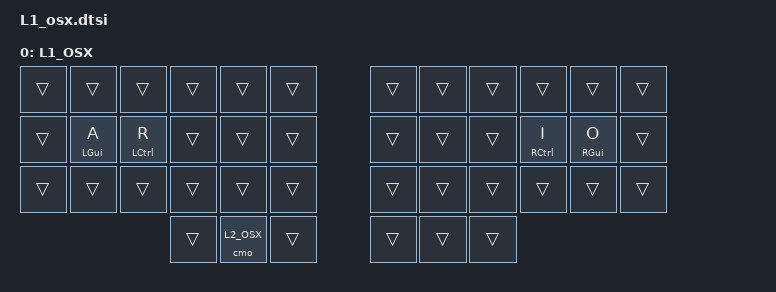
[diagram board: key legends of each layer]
/**
 * Alpha Layer - Colemak-DH
 */

/ {
  keymap {
    compatible = "zmk,keymap";

    layer_1 {
      label = "L1_OSX";
      bindings = <
// ╭───────────────┬───────────────┬───────────────┬───────────────┬───────────────┬───────────────╮   ╭───────────────┬───────────────┬───────────────┬───────────────┬───────────────┬───────────────╮
//  0               1               2               3               4               5                   6               7               8               9               10              11
    &trans          &trans          &trans          &trans          &trans          &trans              &trans          &trans          &trans          &trans          &trans          &trans
// ├───────────────├───────────────┼───────────────┼───────────────┼───────────────┼───────────────┤   ├───────────────├───────────────┼───────────────┼───────────────┼───────────────┼───────────────┤
//  12              13              14              15              16              17                  18              19              20              21              22              23
    &trans          &mt LGUI A      &mt LCTRL R     &trans          &trans          &trans              &trans          &trans          &trans          &mt RCTRL I     &mt RGUI O      &trans
// ├───────────────├───────────────┼───────────────┼───────────────┼───────────────┼───────────────┤   ├───────────────├───────────────┼───────────────┼───────────────┼───────────────┼───────────────┤
//  24              25              26              27              28              29                  30              31              32              33              34              35
    &trans          &trans          &trans          &trans          &trans          &trans              &trans          &trans          &trans          &trans          &trans          &trans
// ╰───────────────┴───────────────┴───────────────┼───────────────┼───────────────┼───────────────┤   ├───────────────├───────────────┼───────────────┼───────────────┴───────────────┴───────────────╯
//                                                  36              37              38                  39              40              41
                                                    &trans          &cmo L2_OSX     &trans              &trans          &trans          &trans
//                                                 ╰───────────────┴───────────────┴───────────────╯   ╰───────────────┴───────────────┴───────────────╯
      >;
    };
  };
};
